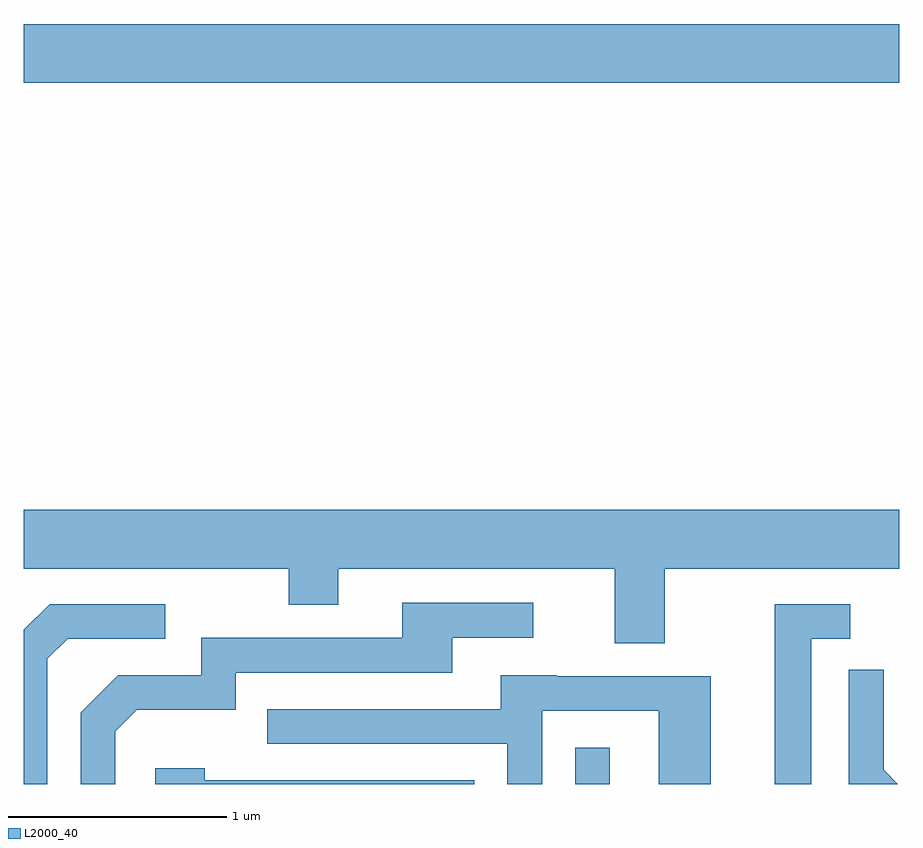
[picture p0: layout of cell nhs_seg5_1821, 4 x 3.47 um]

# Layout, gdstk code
import gdstk
lib = gdstk.Library(unit=1e-6, precision=1e-09)
def R(c, l, rs):  # rectangles x0, y0, x1, y1
    for r in rs: c.add(gdstk.rectangle(r[:2], r[2:], *l))
def P(c, l, *ps):  # polygons
    for p in ps: c.add(gdstk.Polygon(p, *l))
L2000_40 = (2000, 40)

nhs_seg5_1821 = lib.new_cell('nhs_seg5_1821')
R(nhs_seg5_1821, L2000_40, [(242.131,1418.072,242.289,1418.238), (239.611,1421.276,243.611,1421.544)])
P(nhs_seg5_1821, L2000_40, [(242.539,1419.056),(243.611,1419.056),(243.611,1419.324),(239.611,1419.324),(239.611,1419.056),(240.821,1419.056),(240.821,1418.891),(241.049,1418.891),(241.049,1419.056),(242.311,1419.056),(242.311,1418.716),(242.539,1418.716)],
  [(240.029,1418.314),(240.127,1418.411),(240.579,1418.411),(240.579,1418.581),(241.569,1418.581),(241.569,1418.741),(241.938,1418.741),(241.938,1418.899),(241.341,1418.899),(241.341,1418.739),(240.421,1418.739),(240.421,1418.569),(240.044,1418.569),(239.871,1418.397),(239.871,1418.072),(240.029,1418.072)],
  [(239.719,1418.644),(239.812,1418.736),(240.258,1418.736),(240.258,1418.894),(239.729,1418.894),(239.611,1418.777),(239.611,1418.072),(239.719,1418.072)],
  [(243.209,1418.736),(243.388,1418.736),(243.388,1418.894),(243.041,1418.894),(243.041,1418.072),(243.209,1418.072)],
  [(243.539,1418.137),(243.539,1418.593),(243.381,1418.593),(243.381,1418.072),(243.604,1418.072)],
  [(241.979,1418.406),(242.511,1418.406),(242.511,1418.072),(242.749,1418.072),(242.749,1418.564),(242.045,1418.564),(242.045,1418.569),(241.791,1418.569),(241.791,1418.414),(240.723,1418.414),(240.723,1418.256),(241.821,1418.256),(241.821,1418.072),(241.979,1418.072)],
  [(241.669,1418.089),(240.439,1418.089),(240.439,1418.144),(240.211,1418.144),(240.211,1418.072),(241.669,1418.072)])

lib.write_gds('nhs_seg5_1821.gds')
